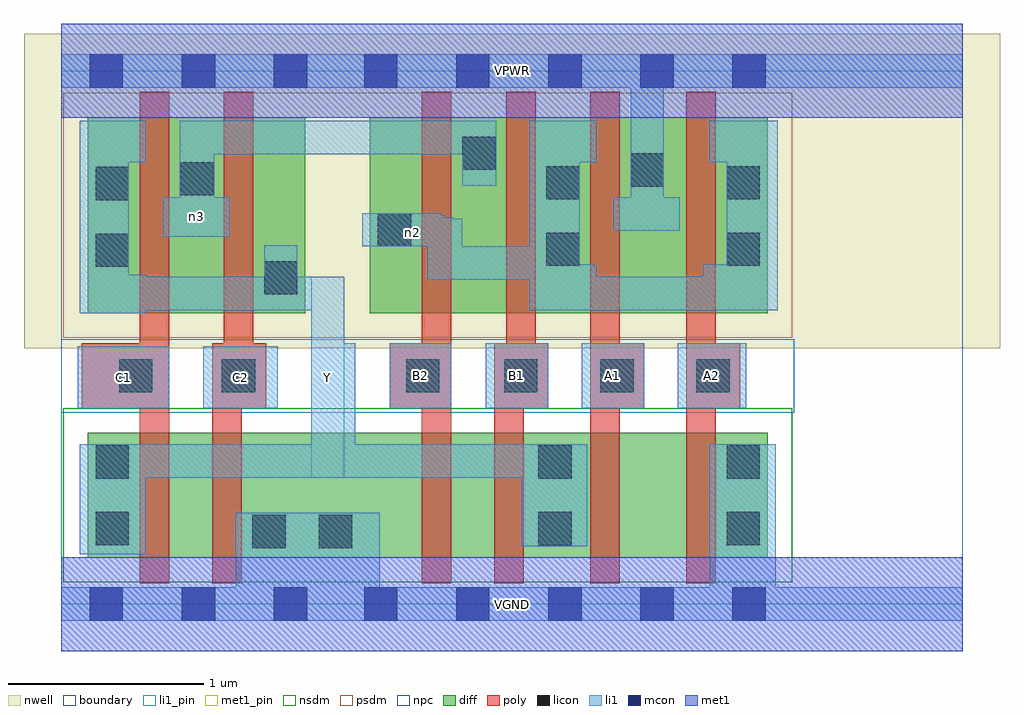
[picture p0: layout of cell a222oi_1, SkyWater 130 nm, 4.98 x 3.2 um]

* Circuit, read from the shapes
.subckt a222oi_1 A1 A2 B1 B2 C1 C2 VGND VPWR Y n2 n3
XM1 n1 C1 Y VSUBS sky130_fd_pr__nfet_01v8 w=0.64 l=0.15
XM2 VGND C2 n1 VSUBS sky130_fd_pr__nfet_01v8 w=0.64 l=0.15
XM3 n4 B2 VGND VSUBS sky130_fd_pr__nfet_01v8 w=0.64 l=0.15
XM4 Y B1 n4 VSUBS sky130_fd_pr__nfet_01v8 w=0.64 l=0.15
XM5 n5 A1 Y VSUBS sky130_fd_pr__nfet_01v8 w=0.64 l=0.15
XM6 VGND A2 n5 VSUBS sky130_fd_pr__nfet_01v8 w=0.64 l=0.15
XM7 n3 C1 Y n6 sky130_fd_pr__pfet_01v8 w=1 l=0.15
XM8 Y C2 n3 n6 sky130_fd_pr__pfet_01v8 w=1 l=0.15
XM9 n3 B2 n2 n6 sky130_fd_pr__pfet_01v8 w=1 l=0.15
XM10 n2 B1 n3 n6 sky130_fd_pr__pfet_01v8 w=1 l=0.15
XM11 VPWR A1 n2 n6 sky130_fd_pr__pfet_01v8 w=1 l=0.15
XM12 n2 A2 VPWR n6 sky130_fd_pr__pfet_01v8 w=1 l=0.15
.ends

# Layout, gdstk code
import gdstk
lib = gdstk.Library(unit=1e-6, precision=1e-09)
def R(c, l, rs):  # rectangles x0, y0, x1, y1
    for r in rs: c.add(gdstk.rectangle(r[:2], r[2:], *l))
def A(c, l, x, y, w, h, nx, ny, dx, dy):  # array of equal rectangles
    R(c, l, [(x+i*dx, y+j*dy, x+i*dx+w, y+j*dy+h) for i in range(nx) for j in range(ny)])
nwell = (64, 20)
diff = (65, 20)
poly = (66, 20)
licon = (66, 44)
li1_pin = (67, 16)
li1 = (67, 20)
mcon = (67, 44)
met1_pin = (68, 16)
met1 = (68, 20)
nsdm = (93, 44)
psdm = (94, 20)
npc = (95, 20)
boundary = (235, 4)

a222oi_1 = lib.new_cell('a222oi_1')
R(a222oi_1, nwell, [(-0.19,1.305,4.79,2.91), (0,1.305,4.6,2.91)])
R(a222oi_1, diff, [(0.135,0.235,3.605,0.875), (0.135,1.485,1.245,2.485), (1.575,1.485,3.605,2.485)])
A(a222oi_1, poly, 2.21, 1, 0.275, 0.33, 3, 1, 0.49, 0)
R(a222oi_1, poly, [(0.4,0.105,0.55,2.615), (0.77,0.105,0.92,1.33), (1.84,0.105,1.99,2.615), (2.21,0.105,2.36,1.33), (2.7,0.105,2.85,2.615), (3.19,0.105,3.34,2.615), (0.105,1,0.55,1.33), (0.77,1,1.045,1.33), (0.83,1,0.98,2.615), (1.675,1,1.99,1.33), (2.27,1,2.42,2.615)])
A(a222oi_1, licon, 2.26, 1.08, 0.17, 0.17, 3, 1, 0.49, 0)
R(a222oi_1, licon, [(0.975,0.285,1.145,0.455), (1.315,0.285,1.485,0.455), (0.175,0.3,0.345,0.47), (2.435,0.3,2.605,0.47), (3.395,0.3,3.565,0.47), (0.175,0.64,0.345,0.81), (2.435,0.64,2.605,0.81), (3.395,0.64,3.565,0.81), (0.295,1.08,0.465,1.25), (0.82,1.08,0.99,1.25), (1.76,1.08,1.93,1.25), (1.035,1.58,1.205,1.75), (0.175,1.72,0.345,1.89), (2.475,1.725,2.645,1.895), (3.395,1.725,3.565,1.895), (1.615,1.825,1.785,1.995), (0.175,2.06,0.345,2.23), (2.475,2.065,2.645,2.235), (3.395,2.065,3.565,2.235), (0.605,2.085,0.775,2.255), (2.905,2.13,3.075,2.3), (2.045,2.215,2.215,2.385)])
R(a222oi_1, li1_pin, [(1.275,0.645,1.445,1.67), (0.085,1,0.55,1.315), (0.725,1,1.105,1.315), (1.675,1,1.99,1.33), (2.165,1,2.485,1.33), (2.655,1,2.975,1.33), (3.145,1,3.495,1.33)])
R(a222oi_1, li1, [(0,-0.085,4.6,0.085), (0.89,-0.085,1.625,0.465), (3.31,-0.085,3.645,0.815), (0.095,0.255,0.43,0.815), (2.35,0.295,2.685,0.815), (0.095,0.645,2.685,0.815), (1.275,0.645,1.445,1.67), (1.275,0.815,1.5,1.33), (0.085,1,0.55,1.315), (0.725,1,1.105,1.315), (1.675,1,1.99,1.33), (2.165,1,2.485,1.33), (2.655,1,2.975,1.33), (3.145,1,3.495,1.33), (0.095,1.485,0.345,2.465), (0.095,1.485,0.43,1.68), (0.095,1.5,1.445,1.67), (1.035,1.5,1.205,1.83), (2.39,1.5,2.645,2.465), (2.39,1.5,3.655,1.67), (2.39,1.5,2.73,1.735), (3.275,1.5,3.655,1.735), (3.395,1.5,3.655,2.465), (1.87,1.655,2.645,1.825), (1.535,1.825,2.045,1.965), (1.535,1.825,1.94,1.995), (1.535,1.825,1.96,1.98), (1.535,1.825,2,1.97), (0.52,1.875,0.86,2.075), (0.605,1.875,0.78,2.465), (2.82,1.905,3.155,2.075), (2.905,1.905,3.075,2.805), (2.045,2.135,2.22,2.465), (0.095,2.255,0.43,2.465), (2.39,2.255,2.73,2.465), (3.31,2.255,3.655,2.465), (0.605,2.295,2.22,2.465), (0,2.635,4.6,2.805)])
A(a222oi_1, mcon, 0.145, -0.085, 0.17, 0.17, 3, 2, 0.47, 2.72)
A(a222oi_1, mcon, 1.545, -0.085, 0.17, 0.17, 5, 2, 0.47, 2.72)
R(a222oi_1, met1_pin, [(0,-0.24,4.6,0.24), (0,2.48,4.6,2.96)])
R(a222oi_1, met1, [(0,-0.24,4.6,0.24), (0,2.48,4.6,2.96)])
R(a222oi_1, nsdm, [(0.01,0.11,3.73,1)])
R(a222oi_1, psdm, [(0.01,1.36,3.73,2.61)])
R(a222oi_1, npc, [(0,0.975,3.74,1.35)])
R(a222oi_1, boundary, [(0,0,4.6,2.72)])
a222oi_1.add(gdstk.Label('A1', (2.815,1.165), layer=67, texttype=5))
a222oi_1.add(gdstk.Label('A2', (3.32,1.165), layer=67, texttype=5))
a222oi_1.add(gdstk.Label('B1', (2.325,1.165), layer=67, texttype=5))
a222oi_1.add(gdstk.Label('B2', (1.832,1.165), layer=67, texttype=5))
a222oi_1.add(gdstk.Label('C1', (0.317,1.157), layer=67, texttype=5))
a222oi_1.add(gdstk.Label('C2', (0.915,1.157), layer=67, texttype=5))
a222oi_1.add(gdstk.Label('Y', (1.36,1.157), layer=67, texttype=5))
a222oi_1.add(gdstk.Label('n3', (0.69,1.975), layer=67, texttype=5))
a222oi_1.add(gdstk.Label('n2', (1.79,1.895), layer=67, texttype=5))
a222oi_1.add(gdstk.Label('VPWR', (2.3,2.72), layer=68, texttype=5))
a222oi_1.add(gdstk.Label('VGND', (2.3,0), layer=68, texttype=5))
a222oi_1.add(gdstk.Label('A1', (2.815,1.165), layer=67, texttype=16))
a222oi_1.add(gdstk.Label('A2', (3.32,1.165), layer=67, texttype=16))
a222oi_1.add(gdstk.Label('B1', (2.325,1.165), layer=67, texttype=16))
a222oi_1.add(gdstk.Label('B2', (1.832,1.165), layer=67, texttype=16))
a222oi_1.add(gdstk.Label('C1', (0.317,1.157), layer=67, texttype=16))
a222oi_1.add(gdstk.Label('C2', (0.915,1.157), layer=67, texttype=16))
a222oi_1.add(gdstk.Label('Y', (1.36,1.157), layer=67, texttype=16))
a222oi_1.add(gdstk.Label('VPWR', (2.3,2.72), layer=68, texttype=16))
a222oi_1.add(gdstk.Label('VGND', (2.3,0), layer=68, texttype=16))

lib.write_gds('a222oi_1.gds')
